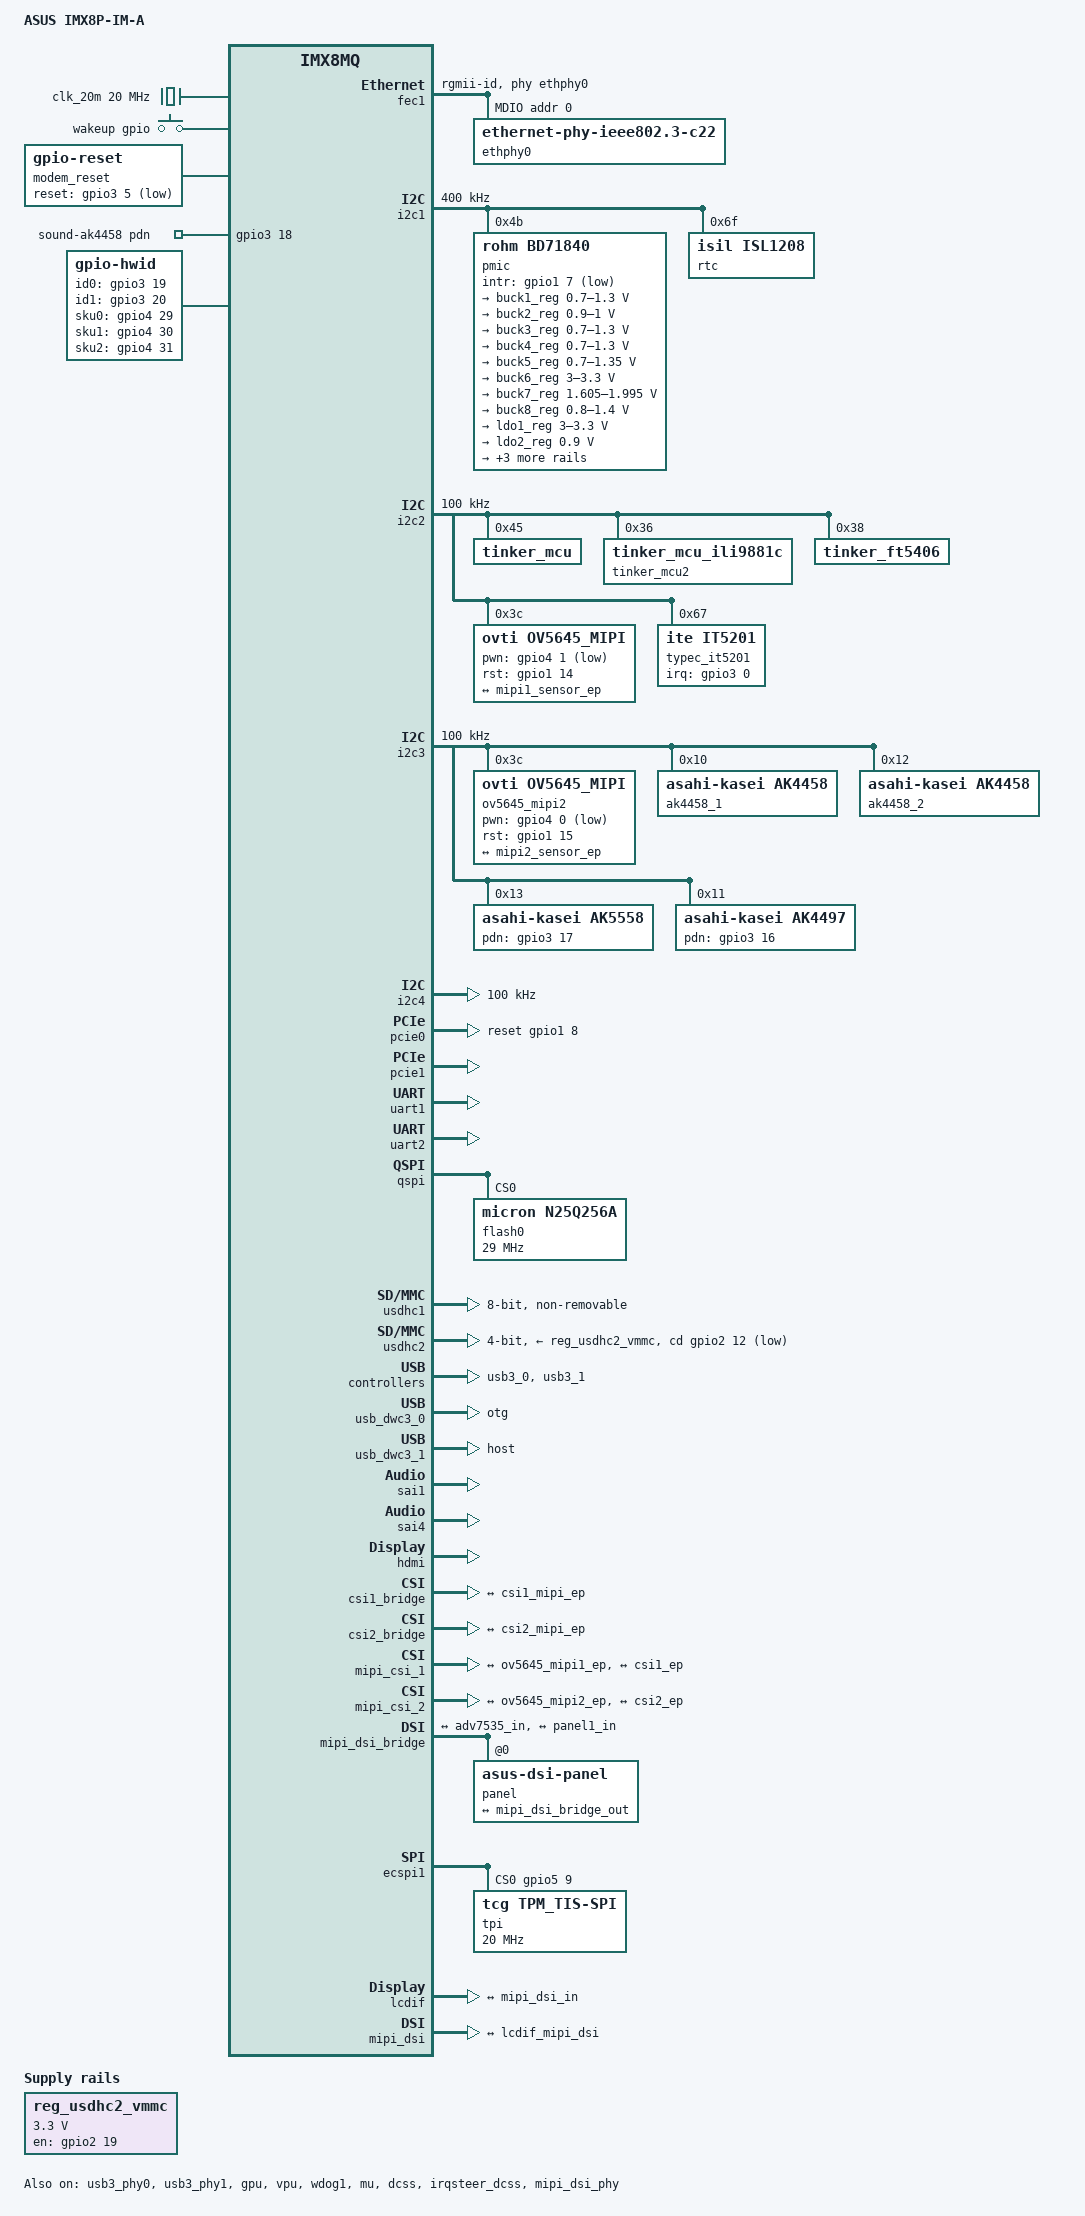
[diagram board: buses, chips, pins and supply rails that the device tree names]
/*
 * Copyright (C) 2016 Freescale Semiconductor, Inc.
 * Copyright 2017 NXP
 *
 * This program is free software; you can redistribute it and/or
 * modify it under the terms of the GNU General Public License
 * as published by the Free Software Foundation; either version 2
 * of the License, or (at your option) any later version.
 *
 * This program is distributed in the hope that it will be useful,
 * but WITHOUT ANY WARRANTY; without even the implied warranty of
 * MERCHANTABILITY or FITNESS FOR A PARTICULAR PURPOSE.  See the
 * GNU General Public License for more details.
 */

/dts-v1/;

#include "fsl-imx8mq.dtsi"

/ {
	model = "ASUS IMX8P-IM-A";
	compatible = "fsl,imx8mq-evk", "fsl,imx8mq";

	clocks {
		clk_20m: clock@11 {
			compatible = "fixed-clock";
			reg = <11>;
			#clock-cells = <0>;
			clock-frequency = <20000000>;
			clock-output-names = "20m";
		};
	};

	regulators {
		compatible = "simple-bus";
		#address-cells = <1>;
		#size-cells = <0>;

		reg_usdhc2_vmmc: usdhc2_vmmc {
			compatible = "regulator-fixed";
			regulator-name = "VSD_3V3";
			regulator-min-microvolt = <3300000>;
			regulator-max-microvolt = <3300000>;
			gpio = <&gpio2 19 GPIO_ACTIVE_HIGH>;
			off-on-delay = <20000>;
			enable-active-high;
		};
	};

	gpio-keys {
		compatible = "gpio-keys";
		wakeup {
			label = "wakeup gpio";
			gpio = <&gpio1 12 GPIO_ACTIVE_HIGH>;
			linux,code = <KEY_WAKEUP>;
			gpio-key,wakeup;
		};
	};

	ir_recv: ir-receiver {
		compatible = "gpio-ir-receiver";
		gpios = <&gpio1 12 GPIO_ACTIVE_LOW>;
		pinctrl-names = "default";
		pinctrl-0 = <&pinctrl_ir_recv>;
		status = "disabled";
	};

	brcmfmac: brcmfmac {
		compatible = "cypress,brcmfmac";
		pinctrl-names = "init", "idle", "default";
		pinctrl-0 = <&pinctrl_wlan_init>;
		pinctrl-1 = <&pinctrl_wlan_init>;
		pinctrl-2 = <&pinctrl_wlan>;
	};

	modem_reset: modem-reset {
		compatible = "gpio-reset";
		reset-gpios = <&gpio3 5 GPIO_ACTIVE_LOW>;
		reset-delay-us = <2000>;
		reset-post-delay-ms = <40>;
		#reset-cells = <0>;
	};

	sound-hdmi {
		compatible = "fsl,imx8mq-evk-cdnhdmi",
				"fsl,imx-audio-cdnhdmi";
		model = "imx-audio-hdmi";
		audio-cpu = <&sai4>;
		protocol = <1>;
		hdmi-out;
		constraint-rate = <44100>,
				<88200>,
				<176400>,
				<32000>,
				<48000>,
				<96000>,
				<192000>;
	};

	sound-ak4458 {
		compatible = "fsl,imx-audio-ak4458-mq";
		model = "ak4458-audio";
		audio-cpu = <&sai1>;
		audio-codec = <&ak4458_1>, <&ak4458_2>;
		ak4458,pdn-gpio = <&gpio3 18 GPIO_ACTIVE_HIGH>;
	};

	sound-ak5558 {
		compatible = "fsl,imx-audio-ak5558-mq";
		model = "ak5558-audio";
		audio-cpu = <&sai5>;
		audio-codec = <&ak5558>;
	};

	sound-ak4497 {
		compatible = "fsl,imx-audio-ak4497-mq";
		model = "ak4497-audio";
		audio-cpu = <&sai1>;
		audio-codec = <&ak4497>;
		status = "disabled";
	};

	hwid: gpio-hwid {
		compatible = "gpio-hwid";
		boardinfo = "IM-A";
		id0-gpios = <&gpio3 19 GPIO_ACTIVE_HIGH>;
		id1-gpios = <&gpio3 20 GPIO_ACTIVE_HIGH>;
		sku0-gpios = <&gpio4 29 GPIO_ACTIVE_HIGH>;
		sku1-gpios = <&gpio4 30 GPIO_ACTIVE_HIGH>;
		sku2-gpios = <&gpio4 31 GPIO_ACTIVE_HIGH>;
	};
};

&clk {
	assigned-clocks = <&clk IMX8MQ_AUDIO_PLL1>, <&clk IMX8MQ_AUDIO_PLL2>;
	assigned-clock-rates = <786432000>, <722534400>;
};

&iomuxc {
	pinctrl-names = "default";
	pinctrl-0 = <&pinctrl_hog>;

	imx8mq-evk {
		pinctrl_hog: hoggrp {
			fsl,pins = <
				MX8MQ_IOMUXC_NAND_READY_B_GPIO3_IO16		0x19
				MX8MQ_IOMUXC_NAND_WE_B_GPIO3_IO17		0x19
				MX8MQ_IOMUXC_NAND_WP_B_GPIO3_IO18		0x19
				MX8MQ_IOMUXC_SAI5_RXFS_GPIO3_IO19		0x19
				MX8MQ_IOMUXC_SAI5_RXC_GPIO3_IO20		0x19
				MX8MQ_IOMUXC_SAI3_RXC_GPIO4_IO29		0x19
				MX8MQ_IOMUXC_SAI3_RXD_GPIO4_IO30		0x19
				MX8MQ_IOMUXC_SAI3_TXFS_GPIO4_IO31		0x19
			>;
		};

		pinctrl_ir_recv: ir_recv {
			fsl,pins = <
				MX8MQ_IOMUXC_GPIO1_IO12_GPIO1_IO12		0x4f
			>;
		};

		pinctrl_csi1_pwn: csi1_pwn_grp {
			fsl,pins = <
				MX8MQ_IOMUXC_SAI1_RXC_GPIO4_IO1         0x19 /* PWDN */
				MX8MQ_IOMUXC_GPIO1_IO14_GPIO1_IO14      0x19 /* RESETB */
			>;
		};
		pinctrl_csi2_pwn: csi2_pwn_grp {
			fsl,pins = <
				MX8MQ_IOMUXC_SAI1_RXFS_GPIO4_IO0        0x19 /* PWDN */
				MX8MQ_IOMUXC_GPIO1_IO15_GPIO1_IO15      0x19 /* RESETB */
			>;
		};

		pinctrl_fec1: fec1grp {
			fsl,pins = <
				MX8MQ_IOMUXC_ENET_MDC_ENET1_MDC		0x3
				MX8MQ_IOMUXC_ENET_MDIO_ENET1_MDIO	0x23
				MX8MQ_IOMUXC_ENET_TD3_ENET1_RGMII_TD3	0x1f
				MX8MQ_IOMUXC_ENET_TD2_ENET1_RGMII_TD2	0x1f
				MX8MQ_IOMUXC_ENET_TD1_ENET1_RGMII_TD1	0x1f
				MX8MQ_IOMUXC_ENET_TD0_ENET1_RGMII_TD0	0x1f
				MX8MQ_IOMUXC_ENET_RD3_ENET1_RGMII_RD3	0x91
				MX8MQ_IOMUXC_ENET_RD2_ENET1_RGMII_RD2	0x91
				MX8MQ_IOMUXC_ENET_RD1_ENET1_RGMII_RD1	0x91
				MX8MQ_IOMUXC_ENET_RD0_ENET1_RGMII_RD0	0x91
				MX8MQ_IOMUXC_ENET_TXC_ENET1_RGMII_TXC	0x1f
				MX8MQ_IOMUXC_ENET_RXC_ENET1_RGMII_RXC	0x91
				MX8MQ_IOMUXC_ENET_RX_CTL_ENET1_RGMII_RX_CTL	0x91
				MX8MQ_IOMUXC_ENET_TX_CTL_ENET1_RGMII_TX_CTL	0x1f
				MX8MQ_IOMUXC_GPIO1_IO09_GPIO1_IO9	0x19
			>;
		};

		pinctrl_i2c1: i2c1grp {
			fsl,pins = <
				MX8MQ_IOMUXC_I2C1_SCL_I2C1_SCL			0x4000007f
				MX8MQ_IOMUXC_I2C1_SDA_I2C1_SDA			0x4000007f
			>;
		};

		pinctrl_i2c2: i2c2grp {
			fsl,pins = <
				MX8MQ_IOMUXC_I2C2_SCL_I2C2_SCL			0x40000067
				MX8MQ_IOMUXC_I2C2_SDA_I2C2_SDA			0x40000067
			>;
		};

		pinctrl_i2c3: i2c3grp {
			fsl,pins = <
				MX8MQ_IOMUXC_I2C3_SCL_I2C3_SCL			0x40000067
				MX8MQ_IOMUXC_I2C3_SDA_I2C3_SDA			0x40000067
			>;
		};

		pinctrl_i2c4: i2c4grp {
			fsl,pins = <
				MX8MQ_IOMUXC_I2C4_SCL_I2C4_SCL                  0x40000067
				MX8MQ_IOMUXC_I2C4_SDA_I2C4_SDA                  0x40000067
			>;
		};

		pinctrl_pcie0: pcie0grp {
			fsl,pins = <
				MX8MQ_IOMUXC_GPIO1_IO08_GPIO1_IO8		0x16 /* S_PLTRST */
				MX8MQ_IOMUXC_GPIO1_IO12_GPIO1_IO12		0x16 /* S_WAKE */
			>;
		};

		pinctrl_pmic: pmicirq {
			fsl,pins = <
				MX8MQ_IOMUXC_GPIO1_IO07_GPIO1_IO7		0x41
			>;
		};

		pinctrl_dvfs: dvfsgrp {
			fsl,pins = <
				MX8MQ_IOMUXC_GPIO1_IO13_GPIO1_IO13	0x16
			>;
		};

		pinctrl_typec: typecgrp {
			fsl,pins = <
				MX8MQ_IOMUXC_NAND_ALE_GPIO3_IO0         0x19
			>;
		};

		pinctrl_qspi: qspigrp {
			fsl,pins = <
				MX8MQ_IOMUXC_NAND_ALE_QSPI_A_SCLK	0x82
				MX8MQ_IOMUXC_NAND_CE0_B_QSPI_A_SS0_B	0x82
				MX8MQ_IOMUXC_NAND_DATA00_QSPI_A_DATA0	0x82
				MX8MQ_IOMUXC_NAND_DATA01_QSPI_A_DATA1	0x82
				MX8MQ_IOMUXC_NAND_DATA02_QSPI_A_DATA2	0x82
				MX8MQ_IOMUXC_NAND_DATA03_QSPI_A_DATA3	0x82

			>;
		};

		pinctrl_uart1: uart1grp {
			fsl,pins = <
				MX8MQ_IOMUXC_UART1_RXD_UART1_DCE_RX		0x49
				MX8MQ_IOMUXC_UART1_TXD_UART1_DCE_TX		0x49
			>;
		};

		pinctrl_uart2: uart2grp {
			fsl,pins = <
				MX8MQ_IOMUXC_UART2_RXD_UART2_DCE_RX		0x49
				MX8MQ_IOMUXC_UART2_TXD_UART2_DCE_TX		0x49
				MX8MQ_IOMUXC_UART4_RXD_UART2_DCE_CTS_B		0x49
				//MX8MQ_IOMUXC_UART4_TXD_UART2_DCE_RTS_B		0x49
				MX8MQ_IOMUXC_UART4_TXD_GPIO5_IO29               0x19
			>;
		};

		pinctrl_uart3: uart3grp {
			fsl,pins = <
				MX8MQ_IOMUXC_UART3_TXD_UART3_DCE_TX		0x49
				MX8MQ_IOMUXC_UART3_RXD_UART3_DCE_RX		0x49
				MX8MQ_IOMUXC_ECSPI1_MISO_UART3_DCE_CTS_B	0x49
				MX8MQ_IOMUXC_ECSPI1_SS0_UART3_DCE_RTS_B		0x49
				MX8MQ_IOMUXC_NAND_CLE_GPIO3_IO5			0x19
			>;
		};

		pinctrl_usdhc1: usdhc1grp {
			fsl,pins = <
				MX8MQ_IOMUXC_SD1_CLK_USDHC1_CLK			0x83
				MX8MQ_IOMUXC_SD1_CMD_USDHC1_CMD			0xc3
				MX8MQ_IOMUXC_SD1_DATA0_USDHC1_DATA0		0xc3
				MX8MQ_IOMUXC_SD1_DATA1_USDHC1_DATA1		0xc3
				MX8MQ_IOMUXC_SD1_DATA2_USDHC1_DATA2		0xc3
				MX8MQ_IOMUXC_SD1_DATA3_USDHC1_DATA3		0xc3
				MX8MQ_IOMUXC_SD1_DATA4_USDHC1_DATA4		0xc3
				MX8MQ_IOMUXC_SD1_DATA5_USDHC1_DATA5		0xc3
				MX8MQ_IOMUXC_SD1_DATA6_USDHC1_DATA6		0xc3
				MX8MQ_IOMUXC_SD1_DATA7_USDHC1_DATA7		0xc3
				MX8MQ_IOMUXC_SD1_STROBE_USDHC1_STROBE 		0x83
				MX8MQ_IOMUXC_SD1_RESET_B_USDHC1_RESET_B		0xc1
			>;
		};

		pinctrl_usdhc1_100mhz: usdhc1grp100mhz {
			fsl,pins = <
				MX8MQ_IOMUXC_SD1_CLK_USDHC1_CLK			0x8d
				MX8MQ_IOMUXC_SD1_CMD_USDHC1_CMD			0xcd
				MX8MQ_IOMUXC_SD1_DATA0_USDHC1_DATA0		0xcd
				MX8MQ_IOMUXC_SD1_DATA1_USDHC1_DATA1		0xcd
				MX8MQ_IOMUXC_SD1_DATA2_USDHC1_DATA2		0xcd
				MX8MQ_IOMUXC_SD1_DATA3_USDHC1_DATA3		0xcd
				MX8MQ_IOMUXC_SD1_DATA4_USDHC1_DATA4		0xcd
				MX8MQ_IOMUXC_SD1_DATA5_USDHC1_DATA5		0xcd
				MX8MQ_IOMUXC_SD1_DATA6_USDHC1_DATA6		0xcd
				MX8MQ_IOMUXC_SD1_DATA7_USDHC1_DATA7		0xcd
				MX8MQ_IOMUXC_SD1_STROBE_USDHC1_STROBE		0x8d
				MX8MQ_IOMUXC_SD1_RESET_B_USDHC1_RESET_B		0xc1
			>;
		};

		pinctrl_usdhc1_200mhz: usdhc1grp200mhz {
			fsl,pins = <
				MX8MQ_IOMUXC_SD1_CLK_USDHC1_CLK			0x9f
				MX8MQ_IOMUXC_SD1_CMD_USDHC1_CMD			0xdf
				MX8MQ_IOMUXC_SD1_DATA0_USDHC1_DATA0		0xdf
				MX8MQ_IOMUXC_SD1_DATA1_USDHC1_DATA1		0xdf
				MX8MQ_IOMUXC_SD1_DATA2_USDHC1_DATA2		0xdf
				MX8MQ_IOMUXC_SD1_DATA3_USDHC1_DATA3		0xdf
				MX8MQ_IOMUXC_SD1_DATA4_USDHC1_DATA4		0xdf
				MX8MQ_IOMUXC_SD1_DATA5_USDHC1_DATA5		0xdf
				MX8MQ_IOMUXC_SD1_DATA6_USDHC1_DATA6		0xdf
				MX8MQ_IOMUXC_SD1_DATA7_USDHC1_DATA7		0xdf
				MX8MQ_IOMUXC_SD1_STROBE_USDHC1_STROBE		0x9f
				MX8MQ_IOMUXC_SD1_RESET_B_USDHC1_RESET_B		0xc1
			>;
		};

		pinctrl_usdhc2_gpio: usdhc2grpgpio {
			fsl,pins = <
				MX8MQ_IOMUXC_SD2_CD_B_GPIO2_IO12	0x41
				MX8MQ_IOMUXC_SD2_RESET_B_GPIO2_IO19	0x41
			>;
		};

		pinctrl_usdhc2: usdhc2grp {
			fsl,pins = <
				MX8MQ_IOMUXC_SD2_CLK_USDHC2_CLK			0x83
				MX8MQ_IOMUXC_SD2_CMD_USDHC2_CMD			0xc3
				MX8MQ_IOMUXC_SD2_DATA0_USDHC2_DATA0		0xc3
				MX8MQ_IOMUXC_SD2_DATA1_USDHC2_DATA1		0xc3
				MX8MQ_IOMUXC_SD2_DATA2_USDHC2_DATA2		0xc3
				MX8MQ_IOMUXC_SD2_DATA3_USDHC2_DATA3		0xc3
				MX8MQ_IOMUXC_GPIO1_IO04_USDHC2_VSELECT		0xc1
			>;
		};

		pinctrl_usdhc2_100mhz: usdhc2grp100mhz {
			fsl,pins = <
				MX8MQ_IOMUXC_SD2_CLK_USDHC2_CLK			0x8d
				MX8MQ_IOMUXC_SD2_CMD_USDHC2_CMD			0xcd
				MX8MQ_IOMUXC_SD2_DATA0_USDHC2_DATA0		0xcd
				MX8MQ_IOMUXC_SD2_DATA1_USDHC2_DATA1		0xcd
				MX8MQ_IOMUXC_SD2_DATA2_USDHC2_DATA2		0xcd
				MX8MQ_IOMUXC_SD2_DATA3_USDHC2_DATA3		0xcd
				MX8MQ_IOMUXC_GPIO1_IO04_USDHC2_VSELECT		0xc1
			>;
		};

		pinctrl_usdhc2_200mhz: usdhc2grp200mhz {
			fsl,pins = <
				MX8MQ_IOMUXC_SD2_CLK_USDHC2_CLK			0x9f
				MX8MQ_IOMUXC_SD2_CMD_USDHC2_CMD			0xdf
				MX8MQ_IOMUXC_SD2_DATA0_USDHC2_DATA0		0xdf
				MX8MQ_IOMUXC_SD2_DATA1_USDHC2_DATA1		0xdf
				MX8MQ_IOMUXC_SD2_DATA2_USDHC2_DATA2		0xdf
				MX8MQ_IOMUXC_SD2_DATA3_USDHC2_DATA3		0xdf
				MX8MQ_IOMUXC_GPIO1_IO04_USDHC2_VSELECT		0xc1
			>;
		};

		pinctrl_sai1_pcm: sai1grp_pcm {
			fsl,pins = <
				MX8MQ_IOMUXC_SAI1_MCLK_SAI1_MCLK		0xd6
				MX8MQ_IOMUXC_SAI1_TXFS_SAI1_TX_SYNC		0xd6
				MX8MQ_IOMUXC_SAI1_RXD7_SAI1_TX_SYNC		0xd6
				MX8MQ_IOMUXC_SAI1_TXC_SAI1_TX_BCLK		0xd6
				MX8MQ_IOMUXC_SAI1_TXD0_SAI1_TX_DATA0		0xd6
				MX8MQ_IOMUXC_SAI1_TXD1_SAI1_TX_DATA1		0xd6
				MX8MQ_IOMUXC_SAI1_TXD2_SAI1_TX_DATA2		0xd6
				MX8MQ_IOMUXC_SAI1_TXD3_SAI1_TX_DATA3		0xd6
				MX8MQ_IOMUXC_SAI1_TXD4_SAI1_TX_DATA4		0xd6
				MX8MQ_IOMUXC_SAI1_TXD5_SAI1_TX_DATA5		0xd6
				MX8MQ_IOMUXC_SAI1_TXD6_SAI1_TX_DATA6		0xd6
				MX8MQ_IOMUXC_SAI1_TXD7_SAI1_TX_DATA7		0xd6
			>;
		};

		pinctrl_sai1_pcm_b2m: sai1grp_pcm_b2m {
			fsl,pins = <
				MX8MQ_IOMUXC_SAI1_MCLK_SAI1_TX_BCLK		0xd6
				MX8MQ_IOMUXC_SAI1_TXFS_SAI1_TX_SYNC		0xd6
				MX8MQ_IOMUXC_SAI1_RXD7_SAI1_TX_SYNC		0xd6
				MX8MQ_IOMUXC_SAI1_TXC_SAI1_TX_BCLK		0xd6
				MX8MQ_IOMUXC_SAI1_TXD0_SAI1_TX_DATA0		0xd6
				MX8MQ_IOMUXC_SAI1_TXD1_SAI1_TX_DATA1		0xd6
				MX8MQ_IOMUXC_SAI1_TXD2_SAI1_TX_DATA2		0xd6
				MX8MQ_IOMUXC_SAI1_TXD3_SAI1_TX_DATA3		0xd6
				MX8MQ_IOMUXC_SAI1_TXD4_SAI1_TX_DATA4		0xd6
				MX8MQ_IOMUXC_SAI1_TXD5_SAI1_TX_DATA5		0xd6
				MX8MQ_IOMUXC_SAI1_TXD6_SAI1_TX_DATA6		0xd6
				MX8MQ_IOMUXC_SAI1_TXD7_SAI1_TX_DATA7		0xd6
			>;
		};

		pinctrl_sai1_dsd: sai1grp_dsd {
			fsl,pins = <
				MX8MQ_IOMUXC_SAI1_MCLK_SAI1_MCLK		0xd6
				MX8MQ_IOMUXC_SAI1_TXFS_SAI1_TX_SYNC		0xd6
				MX8MQ_IOMUXC_SAI1_RXD7_SAI1_TX_DATA4		0xd6
				MX8MQ_IOMUXC_SAI1_TXC_SAI1_TX_BCLK		0xd6
				MX8MQ_IOMUXC_SAI1_TXD0_SAI1_TX_DATA0		0xd6
				MX8MQ_IOMUXC_SAI1_TXD1_SAI1_TX_DATA1		0xd6
				MX8MQ_IOMUXC_SAI1_TXD2_SAI1_TX_DATA2		0xd6
				MX8MQ_IOMUXC_SAI1_TXD3_SAI1_TX_DATA3		0xd6
				MX8MQ_IOMUXC_SAI1_TXD4_SAI1_TX_DATA4		0xd6
				MX8MQ_IOMUXC_SAI1_TXD5_SAI1_TX_DATA5		0xd6
				MX8MQ_IOMUXC_SAI1_TXD6_SAI1_TX_DATA6		0xd6
				MX8MQ_IOMUXC_SAI1_TXD7_SAI1_TX_DATA7		0xd6
			>;
		};

		pinctrl_sai2: sai2grp {
			fsl,pins = <
				MX8MQ_IOMUXC_SAI2_TXFS_SAI2_TX_SYNC	0xd6
				MX8MQ_IOMUXC_SAI2_TXC_SAI2_TX_BCLK	0xd6
				MX8MQ_IOMUXC_SAI2_MCLK_SAI2_MCLK	0xd6
				MX8MQ_IOMUXC_SAI2_TXD0_SAI2_TX_DATA0	0xd6
				MX8MQ_IOMUXC_SAI2_RXD0_SAI2_RX_DATA0	0xd6
			>;
		};

		pinctrl_sai5: sai5grp {
			fsl,pins = <
				MX8MQ_IOMUXC_SAI5_MCLK_SAI5_MCLK	0xd6
				MX8MQ_IOMUXC_SAI5_RXD0_GPIO3_IO21	0x19
				MX8MQ_IOMUXC_SAI5_RXD1_GPIO3_IO22	0x19
				MX8MQ_IOMUXC_SAI5_RXD2_GPIO3_IO23	0x19
				MX8MQ_IOMUXC_SAI5_RXD3_GPIO3_IO24	0x19
			>;
		};

		pinctrl_spdif1: spdif1grp {
			fsl,pins = <
				MX8MQ_IOMUXC_SPDIF_RX_SPDIF1_IN		0xd6
			>;
		};

		pinctrl_wdog: wdoggrp {
			fsl,pins = <
				MX8MQ_IOMUXC_GPIO1_IO02_WDOG1_WDOG_B 0xc6
			>;
		};

		pinctrl_wlan: wlangrp {
			fsl,pins = <
				MX8MQ_IOMUXC_GPIO1_IO00_ANAMIX_REF_CLK_32K	0x16
			>;
		};

		pinctrl_wlan_init: wlan_initgrp {
			fsl,pins = <
				MX8MQ_IOMUXC_GPIO1_IO00_GPIO1_IO0		0x16
			>;
		};

		pinctrl_i2c1_dsi_ts_int: dsi_ts_int {
			fsl,pins = <
				MX8MQ_IOMUXC_ECSPI1_MOSI_GPIO5_IO7              0x19
			>;
		};

		pinctrl_ecspi1: ecspi1grp {
			fsl,pins = <
				MX8MQ_IOMUXC_ECSPI1_SCLK_ECSPI1_SCLK		0x82
				MX8MQ_IOMUXC_ECSPI1_MOSI_ECSPI1_MOSI		0x82
				MX8MQ_IOMUXC_ECSPI1_MISO_ECSPI1_MISO		0x82
				MX8MQ_IOMUXC_GPIO1_IO05_GPIO1_IO5		0x19
			>;
		};

		pinctrl_ecspi1_cs: ecspi1_cs_grp {
			fsl,pins = <
				MX8MQ_IOMUXC_ECSPI1_SS0_GPIO5_IO9		0x19
			>;
		};

		pinctrl_ecspi2: ecspi2grp {
			fsl,pins = <
				MX8MQ_IOMUXC_ECSPI2_SCLK_ECSPI2_SCLK		0x82
				MX8MQ_IOMUXC_ECSPI2_MOSI_ECSPI2_MOSI		0x82
				MX8MQ_IOMUXC_ECSPI2_MISO_ECSPI2_MISO		0x82
				MX8MQ_IOMUXC_GPIO1_IO03_GPIO1_IO3		0x19
			>;
		};

		pinctrl_ecspi2_cs: ecspi2_cs_grp {
			fsl,pins = <
				MX8MQ_IOMUXC_ECSPI2_SS0_GPIO5_IO13		0x19
				MX8MQ_IOMUXC_NAND_CE3_B_GPIO3_IO4		0x19
			>;
		};

		pinctrl_can_standby: can_standby {
			fsl,pins = <
				MX8MQ_IOMUXC_SAI1_MCLK_GPIO4_IO20		0x19
			>;
		};

                pinctrl_pwm3: pwm3 {
                        fsl,pins = <
                                MX8MQ_IOMUXC_SPDIF_TX_PWM3_OUT                  0x7f
                        >;
                };
                pinctrl_pwm4: pwm4 {
                        fsl,pins = <
                                MX8MQ_IOMUXC_SAI3_MCLK_PWM4_OUT                 0x7f
                        >;
                };

	};
};

&fec1 {
	pinctrl-names = "default";
	pinctrl-0 = <&pinctrl_fec1>;
	phy-mode = "rgmii-id";
	phy-handle = <&ethphy0>;
	fsl,magic-packet;
	wakeup-enable = "1";
	status = "okay";

	mdio {
		#address-cells = <1>;
		#size-cells = <0>;

		ethphy0: ethernet-phy@0 {
			compatible = "ethernet-phy-ieee802.3-c22";
			reg = <0>;
			at803x,led-act-blind-workaround;
			at803x,eee-disabled;
		};
	};
};

&i2c1 {
	clock-frequency = <400000>;
	pinctrl-names = "default";
	pinctrl-0 = <&pinctrl_i2c1>;
	status = "okay";

	pmic: bd71837@4b {
		reg = <0x4b>;
		compatible = "rohm,bd71840", "rohm,bd71837";
		/* PMIC BD71837 PMIC_nINT GPIO1_IO3 */
		pinctrl-0 = <&pinctrl_pmic>;
		gpio_intr = <&gpio1 7 GPIO_ACTIVE_LOW>;

		gpo {
			rohm,drv = <0x0C>;	/* 0b0000_1100 all gpos with cmos output mode */
		};

		regulators {
			#address-cells = <1>;
			#size-cells = <0>;

			bd71837,pmic-buck2-uses-i2c-dvs;
			bd71837,pmic-buck2-dvs-voltage = <1000000>, <900000>, <0>; /* VDD_ARM: Run-Idle */

			buck1_reg: regulator@0 {
				reg = <0>;
				regulator-compatible = "buck1";
				regulator-min-microvolt = <700000>;
				regulator-max-microvolt = <1300000>;
				regulator-boot-on;
				regulator-always-on;
				regulator-ramp-delay = <1250>;
			};

			buck2_reg: regulator@1 {
				reg = <1>;
				regulator-compatible = "buck2";
				regulator-min-microvolt = <900000>;
				regulator-max-microvolt = <1000000>;
				regulator-boot-on;
				regulator-always-on;
			};

			buck3_reg: regulator@2 {
				reg = <2>;
				regulator-compatible = "buck3";
				regulator-min-microvolt = <700000>;
				regulator-max-microvolt = <1300000>;
			};

			buck4_reg: regulator@3 {
				reg = <3>;
				regulator-compatible = "buck4";
				regulator-min-microvolt = <700000>;
				regulator-max-microvolt = <1300000>;
			};

			buck5_reg: regulator@4 {
				reg = <4>;
				regulator-compatible = "buck5";
				regulator-min-microvolt = <700000>;
				regulator-max-microvolt = <1350000>;
				regulator-boot-on;
				regulator-always-on;
			};

			buck6_reg: regulator@5 {
				reg = <5>;
				regulator-compatible = "buck6";
				regulator-min-microvolt = <3000000>;
				regulator-max-microvolt = <3300000>;
				regulator-boot-on;
				regulator-always-on;
			};

			buck7_reg: regulator@6 {
				reg = <6>;
				regulator-compatible = "buck7";
				regulator-min-microvolt = <1605000>;
				regulator-max-microvolt = <1995000>;
				regulator-boot-on;
				regulator-always-on;
			};

			buck8_reg: regulator@7 {
				reg = <7>;
				regulator-compatible = "buck8";
				regulator-min-microvolt = <800000>;
				regulator-max-microvolt = <1400000>;
				regulator-boot-on;
				regulator-always-on;
			};

			ldo1_reg: regulator@8 {
				reg = <8>;
				regulator-compatible = "ldo1";
				regulator-min-microvolt = <3000000>;
				regulator-max-microvolt = <3300000>;
				regulator-boot-on;
				regulator-always-on;
			};

			ldo2_reg: regulator@9 {
				reg = <9>;
				regulator-compatible = "ldo2";
				regulator-min-microvolt = <900000>;
				regulator-max-microvolt = <900000>;
				regulator-boot-on;
				regulator-always-on;
			};

			ldo3_reg: regulator@10 {
				reg = <10>;
				regulator-compatible = "ldo3";
				regulator-min-microvolt = <1800000>;
				regulator-max-microvolt = <3300000>;
				regulator-boot-on;
				regulator-always-on;
			};

			ldo4_reg: regulator@11 {
				reg = <11>;
				regulator-compatible = "ldo4";
				regulator-min-microvolt = <900000>;
				regulator-max-microvolt = <1800000>;
				regulator-boot-on;
				regulator-always-on;
			};

			ldo6_reg: regulator@13 {
				reg = <13>;
				regulator-compatible = "ldo6";
				regulator-min-microvolt = <900000>;
				regulator-max-microvolt = <1800000>;
				regulator-boot-on;
				regulator-always-on;
			};
		};
	};
	rtc@6f {
		compatible = "isil,isl1208";
		reg = <0x6f>;
	};
};

&i2c2 {
	clock-frequency = <100000>;
	pinctrl-names = "default";
	pinctrl-0 = <&pinctrl_i2c2>;
	status = "okay";

	tinker_mcu: tinker_mcu@45 {
		compatible = "tinker_mcu";
		reg = <0x45>;
	};
	
	tinker_mcu2: tinker_mcu2@36 {
				status = "okay";
				compatible = "tinker_mcu_ili9881c";
				reg = <0x36>;
	};

	tinker_ft5406: tinker_ft5406@38 {
		compatible = "tinker_ft5406";
		reg = <0x38>;
	};

	ov5645_mipi: ov5645_mipi@3c {
		compatible = "ovti,ov5645_mipi";
		reg = <0x3c>;
		status = "okay";
		pinctrl-names = "default";
		pinctrl-0 = <&pinctrl_csi1_pwn>;
		clocks = <&clk IMX8MQ_CLK_CLKO2>;
		clock-names = "csi_mclk";
		csi_id = <0>;
		pwn-gpios = <&gpio4 1 1>;
		rst-gpios = <&gpio1 14 0>;
		mclk = <20000000>;
		mclk_source = <0>;
		ae_target = <52>;
		port {
			ov5645_mipi1_ep: endpoint {
				remote-endpoint = <&mipi1_sensor_ep>;
			};
		};
	};

	typec_it5201: it5201@67 {
		compatible = "ite,it5201";
		pinctrl-names = "default";
		pinctrl-0 = <&pinctrl_typec>;
		reg = <0x67>;
		interrupt-parent = <&gpio3>;
		interrupts = <0 IRQ_TYPE_LEVEL_LOW>;
	};
};

&i2c3 {
	clock-frequency = <100000>;
	pinctrl-names = "default";
	pinctrl-0 = <&pinctrl_i2c3>;
	status = "okay";

	ov5645_mipi2: ov5645_mipi@3c {
		compatible = "ovti,ov5645_mipi";
		reg = <0x3c>;
		status = "okay";
		pinctrl-names = "default";
		pinctrl-0 = <&pinctrl_csi2_pwn>;
		clocks = <&clk IMX8MQ_CLK_CLKO2>;
		clock-names = "csi_mclk";
		csi_id = <1>;
		pwn-gpios = <&gpio4 0 1>;
		rst-gpios = <&gpio1 15 0>;
		mclk = <20000000>;
		mclk_source = <0>;
		ae_target = <52>;
		port {
			ov5645_mipi2_ep: endpoint {
				remote-endpoint = <&mipi2_sensor_ep>;
			};
		};
	};

	ak4458_1: ak4458@10 {
		compatible = "asahi-kasei,ak4458";
		reg = <0x10>;
	};

	ak4458_2: ak4458@12 {
		compatible = "asahi-kasei,ak4458";
		reg = <0x12>;
	};

	ak5558: ak5558@13 {
		compatible = "asahi-kasei,ak5558";
		reg = <0x13>;
		ak5558,pdn-gpio = <&gpio3 17 GPIO_ACTIVE_HIGH>;
	};

	ak4497: ak4497@11 {
		compatible = "asahi-kasei,ak4497";
		reg = <0x11>;
		ak4497,pdn-gpio = <&gpio3 16 GPIO_ACTIVE_HIGH>;
	};

	synaptics_dsx_ts: synaptics_dsx_ts@20 {
		compatible = "synaptics_dsx";
		reg = <0x20>;
		pinctrl-names = "default";
		pinctrl-0 = <&pinctrl_i2c1_dsi_ts_int>;
		interrupt-parent = <&gpio5>;
		interrupts = <7 IRQ_TYPE_LEVEL_LOW>;
		synaptics,diagonal-rotation;
		status = "disabled";
	};

	adv_bridge: adv7535@3d {
		compatible = "adi,adv7533";
		reg = <0x3d>;
		adi,addr-cec = <0x3b>;
		adi,dsi-lanes = <4>;
		pinctrl-0 = <&pinctrl_i2c1_dsi_ts_int>;
		interrupt-parent = <&gpio5>;
		interrupts = <7 IRQ_TYPE_LEVEL_LOW>;

		status = "disabled";

		port {
			adv7535_in: endpoint {
				remote-endpoint = <&mipi_dsi_bridge_adv>;
			};
		};
	};
};

&i2c4 {
	clock-frequency = <100000>;
	pinctrl-names = "default";
	pinctrl-0 = <&pinctrl_i2c4>;
	status = "okay";
};

&pcie0{
	pinctrl-names = "default";
	pinctrl-0 = <&pinctrl_pcie0>;
	reset-gpio = <&gpio1 8 GPIO_ACTIVE_HIGH>;
	ext_osc = <1>;
	hard-wired = <1>;
	status = "okay";
};

&pcie1{
	ext_osc = <1>;
	status = "okay";
};

&uart1 { /* console */
	pinctrl-names = "default";
	pinctrl-0 = <&pinctrl_uart1>;
	assigned-clocks = <&clk IMX8MQ_CLK_UART1>;
	assigned-clock-parents = <&clk IMX8MQ_CLK_25M>;
	fsl,uart-has-rtscts;
	status = "okay";
};

&uart2 {
	pinctrl-names = "default";
	pinctrl-0 = <&pinctrl_uart2>;
	assigned-clocks = <&clk IMX8MQ_CLK_UART2>;
	assigned-clock-parents = <&clk IMX8MQ_CLK_25M>;
	fsl,uart-has-rtscts;
	status = "okay";
};

&qspi {
	pinctrl-names = "default";
	pinctrl-0 = <&pinctrl_qspi>;
	status = "okay";

	flash0: n25q256a@0 {
		reg = <0>;
		#address-cells = <1>;
		#size-cells = <1>;
		compatible = "micron,n25q256a";
		spi-max-frequency = <29000000>;
		spi-nor,ddr-quad-read-dummy = <6>;
	};
};

&uart3 { /* BT */
	pinctrl-names = "default";
	pinctrl-0 = <&pinctrl_uart3>;
	assigned-clocks = <&clk IMX8MQ_CLK_UART3>;
	assigned-clock-parents = <&clk IMX8MQ_SYS1_PLL_80M>;
	fsl,uart-has-rtscts;
	resets = <&modem_reset>;
	status = "disabled";
};

&usdhc1 {
	pinctrl-names = "default", "state_100mhz", "state_200mhz";
	pinctrl-0 = <&pinctrl_usdhc1>;
	pinctrl-1 = <&pinctrl_usdhc1_100mhz>;
	pinctrl-2 = <&pinctrl_usdhc1_200mhz>;
	bus-width = <8>;
	non-removable;
	status = "okay";
};

&usdhc2 {
	pinctrl-names = "default", "state_100mhz", "state_200mhz";
	pinctrl-0 = <&pinctrl_usdhc2>, <&pinctrl_usdhc2_gpio>;
	pinctrl-1 = <&pinctrl_usdhc2_100mhz>, <&pinctrl_usdhc2_gpio>;
	pinctrl-2 = <&pinctrl_usdhc2_200mhz>, <&pinctrl_usdhc2_gpio>;
	bus-width = <4>;
	cd-gpios = <&gpio2 12 GPIO_ACTIVE_LOW>;
	vmmc-supply = <&reg_usdhc2_vmmc>;
	status = "okay";
};

&usb3_phy0 {
	status = "okay";
};

&usb3_0 {
	status = "okay";
};

&usb_dwc3_0 {
	status = "okay";
	extcon = <&typec_it5201>;
	dr_mode = "otg";
};

&usb3_phy1 {
	status = "okay";
};

&usb3_1 {
	status = "okay";
};

&usb_dwc3_1 {
	status = "okay";
	dr_mode = "host";
};

&sai1 {
	pinctrl-names = "default", "pcm_b2m", "dsd";
	pinctrl-0 = <&pinctrl_sai1_pcm>;
	pinctrl-1 = <&pinctrl_sai1_pcm_b2m>;
	pinctrl-2 = <&pinctrl_sai1_dsd>;
	assigned-clocks = <&clk IMX8MQ_CLK_SAI1>;
	assigned-clock-parents = <&clk IMX8MQ_AUDIO_PLL1_OUT>;
	assigned-clock-rates = <49152000>;
	clocks = <&clk IMX8MQ_CLK_SAI1_IPG>, <&clk IMX8MQ_CLK_DUMMY>,
		<&clk IMX8MQ_CLK_SAI1_ROOT>, <&clk IMX8MQ_CLK_DUMMY>,
		<&clk IMX8MQ_CLK_DUMMY>, <&clk IMX8MQ_AUDIO_PLL1_OUT>,
		<&clk IMX8MQ_AUDIO_PLL2_OUT>;
	clock-names = "bus", "mclk0", "mclk1", "mclk2", "mclk3", "pll8k", "pll11k";
	fsl,sai-multi-lane;
	fsl,dataline,dsd = <0 0xff 0xff 2 0xff 0x11>;
	dmas = <&sdma2 8 26 0>, <&sdma2 9 26 0>;
	status = "okay";
};

&sai2 {
	pinctrl-names = "default";
	pinctrl-0 = <&pinctrl_sai2>;
	assigned-clocks = <&clk IMX8MQ_CLK_SAI2>;
	assigned-clock-parents = <&clk IMX8MQ_AUDIO_PLL1_OUT>;
	assigned-clock-rates = <24576000>;
	status = "disabled";
};

&sai4 {
	assigned-clocks = <&clk IMX8MQ_CLK_SAI4>;
	assigned-clock-parents = <&clk IMX8MQ_AUDIO_PLL1_OUT>;
	assigned-clock-rates = <24576000>;
	clocks = <&clk IMX8MQ_CLK_SAI4_IPG>, <&clk IMX8MQ_CLK_DUMMY>,
		<&clk IMX8MQ_CLK_SAI4_ROOT>, <&clk IMX8MQ_CLK_DUMMY>,
		<&clk IMX8MQ_CLK_DUMMY>, <&clk IMX8MQ_AUDIO_PLL1_OUT>,
		<&clk IMX8MQ_AUDIO_PLL2_OUT>;
	clock-names = "bus", "mclk0", "mclk1", "mclk2", "mclk3", "pll8k", "pll11k";
	status = "okay";
};

&sai5 {
	pinctrl-names = "default";
	pinctrl-0 = <&pinctrl_sai5>;
	assigned-clocks = <&clk IMX8MQ_CLK_SAI5>;
	assigned-clock-parents = <&clk IMX8MQ_AUDIO_PLL1_OUT>;
	assigned-clock-rates = <49152000>;
	clocks = <&clk IMX8MQ_CLK_SAI5_IPG>, <&clk IMX8MQ_CLK_DUMMY>,
		<&clk IMX8MQ_CLK_SAI5_ROOT>, <&clk IMX8MQ_CLK_DUMMY>,
		<&clk IMX8MQ_CLK_DUMMY>, <&clk IMX8MQ_AUDIO_PLL1_OUT>,
		<&clk IMX8MQ_AUDIO_PLL2_OUT>;
	clock-names = "bus", "mclk0", "mclk1", "mclk2", "mclk3", "pll8k", "pll11k";
	fsl,sai-asynchronous;
	status = "disabled";
};

//&gpu_pd {
//	power-supply = <&sw1a_reg>;
//};

//&vpu_pd {
//	power-supply = <&sw1c_reg>;
//};

&gpu {
	status = "okay";
};

&vpu {
	status = "okay";
};

&wdog1 {
	pinctrl-names = "default";
	pinctrl-0 = <&pinctrl_wdog>;
	fsl,ext-reset-output;
	status = "okay";
};

&mu {
	status = "okay";
};

&A53_0 {
	operating-points = <
		/* kHz    uV */
		1500000 1000000
		1300000 1000000
		1000000 900000
		800000  900000
	>;
	dc-supply = <&buck2_reg>;
};

&dcss {
	status = "okay";

	disp-dev = "hdmi_disp";
};

&hdmi {
	status = "okay";
};

&csi1_bridge {
	fsl,mipi-mode;
	fsl,two-8bit-sensor-mode;
	status = "okay";

	port {
		csi1_ep: endpoint {
			remote-endpoint = <&csi1_mipi_ep>;
		};
	};
};

&csi2_bridge {
	fsl,mipi-mode;
	fsl,two-8bit-sensor-mode;
	status = "okay";

	port {
		csi2_ep: endpoint {
			remote-endpoint = <&csi2_mipi_ep>;
		};
	};
};

&mipi_csi_1 {
	#address-cells = <1>;
	#size-cells = <0>;
	status = "okay";
	port {
		mipi1_sensor_ep: endpoint1 {
			remote-endpoint = <&ov5645_mipi1_ep>;
			data-lanes = <1 2>;
		};

		csi1_mipi_ep: endpoint2 {
			remote-endpoint = <&csi1_ep>;
		};
	};
};

&mipi_csi_2 {
	#address-cells = <1>;
	#size-cells = <0>;
	status = "okay";
	port {
		mipi2_sensor_ep: endpoint1 {
			remote-endpoint = <&ov5645_mipi2_ep>;
			data-lanes = <1 2>;
		};

		csi2_mipi_ep: endpoint2 {
			remote-endpoint = <&csi2_ep>;
		};
	};
};

&mipi_dsi_bridge {
	port@1 {
		mipi_dsi_bridge_adv: endpoint {
			remote-endpoint = <&adv7535_in>;
		};
	};
};

&ecspi1 {
	fsl,spi-num-chipselects = <1>;
	pinctrl-names = "default";
	pinctrl-0 = <&pinctrl_ecspi1 &pinctrl_ecspi1_cs>;
	cs-gpios = <&gpio5 9 GPIO_ACTIVE_HIGH>;
	status = "okay";

	tpi@0 {
		#address-cells = <1>;
		#size-cells = <1>;
		compatible = "tcg,tpm_tis-spi";
		spi-max-frequency = <20000000>;
		reg = <0>;
		status = "okay";
	};
};

&ecspi2 {
	fsl,spi-num-chipselects = <1>;
	pinctrl-names = "default";
	cs-gpios = <&gpio5 13 GPIO_ACTIVE_HIGH>,
		   <&gpio3 4 GPIO_ACTIVE_HIGH>;
	pinctrl-0 = <&pinctrl_ecspi2>,<&pinctrl_ecspi2_cs>,<&pinctrl_can_standby>;
	status = "disabled";

	can0: mcp2515@0 {
		compatible = "microchip,mcp2515";
		standby-gpios = <&gpio4 20 GPIO_ACTIVE_LOW>;
		reg = <0>;
		spi-max-frequency = <500000>;
		clocks = <&clk_20m>;
		interrupt-parent = <&gpio1>;
		interrupts = <3 0x2>;
		status = "okay";
	};

	spidev@0 {
		#address-cells = <1>;
		#size-cells = <1>;
		compatible = "rohm,dh2228fv";
		spi-max-frequency = <20000000>;
		reg = <0>;
		status = "okay";
	};

	spidev@1 {
		#address-cells = <1>;
		#size-cells = <1>;
		compatible = "rohm,dh2228fv";
		spi-max-frequency = <20000000>;
		reg = <1>;
		status = "okay";
	};
};

&irqsteer_dcss {
	status = "okay";
};

&dcss {
	status = "okay";
};

&hdmi {
	status = "okay";
};

&lcdif {
	status = "okay";
	max-res = <1280>, <1280>;

	port@0 {
		lcdif_mipi_dsi: endpoint {
			remote-endpoint = <&mipi_dsi_in>;
		};
	};
};

&mipi_dsi_phy {
	status = "okay";
};

&mipi_dsi {
	status = "okay";
	as_bridge;
	sync-pol = <1>;
	pwr-delay = <10>;


	port@1 {
		mipi_dsi_in: endpoint  {
			remote-endpoint = <&lcdif_mipi_dsi>;
		};
	};
};

&mipi_dsi_bridge {
	status = "okay";
	clock-drop-level = <0>;

	panel@0 {
		compatible = "asus-dsi-panel";
		reg = <0>;
		port {
			panel1_in: endpoint {
				remote-endpoint = <&mipi_dsi_bridge_out>;
			};
		};
	};

	port@2 {
		mipi_dsi_bridge_out: endpoint {
			remote-endpoint = <&panel1_in>;
		};
	};
};

&pwm3 {
	pinctrl-names = "default";
	pinctrl-0 = <&pinctrl_pwm3>;
	status = "disabled";
};

&pwm4 {
	pinctrl-names = "default";
	pinctrl-0 = <&pinctrl_pwm4>;
	status = "disabled";
};
